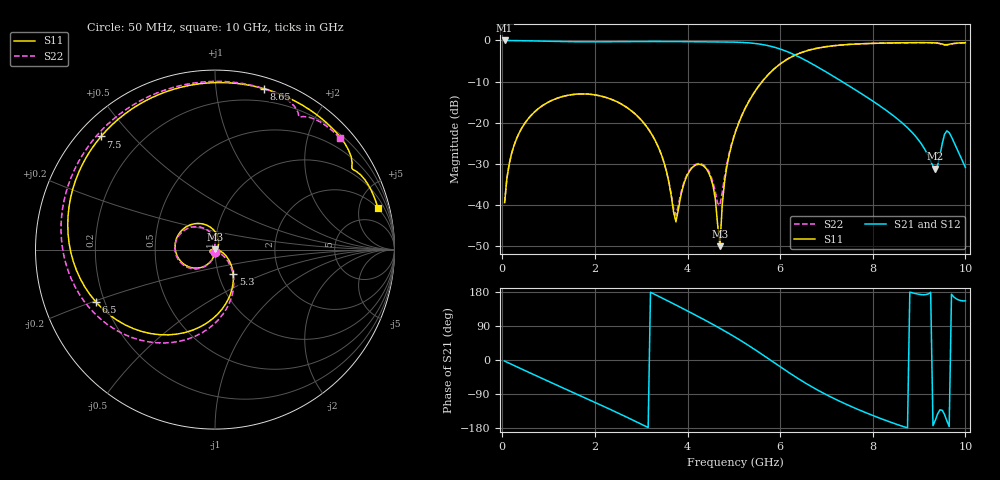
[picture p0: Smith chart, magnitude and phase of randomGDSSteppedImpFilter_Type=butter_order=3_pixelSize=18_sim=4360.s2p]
! freq	dB(S11)	phase(S11)	dB(S12)	phase(S12)
!  dB(S21)	phase(S21)	dB(S22)	phase(S22)
!S-par simulation data
#  GHz  S  DB  R 50
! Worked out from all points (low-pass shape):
!   200 points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, 50 MHz to 10 GHz, reference 50 ohm
!   highest |S21| = -0.01 dB at 50 MHz (marker M1); lowest = -31.2 dB at 9.35 GHz (marker M2)
!   |S21| within 3 dB of the highest: start of sweep to 6.212 GHz
!   lowest |S11| = -50.0 dB at 4.7 GHz (marker M3), VSWR 1.01, Z = 50.2 + j0.275 ohm
!   |S11| at or under -10 dB: start of sweep to 5.613 GHz
!   |S22| runs from -42.5 to -0.6 dB; largest |S21 - S12| = 0
!   S11 on the Smith chart (normalised r, x): 50 MHz: 1.00, -0.02; 5.3 GHz: 1.18, -0.33; 6.5 GHz: 0.17, -0.20; 7.5 GHz: 0.06, +0.41; 8.65 GHz: 0.09, +1.35; 10 GHz: 1.96, +7.44
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0.05  -39.43 -92.3  -0.01 -2.9  -0.01 -2.9  -39.43 -92.2
0.2  -27.54 -101.6  -0.03 -11.5  -0.03 -11.5  -27.54 -101.1
0.5  -19.92 -119.6  -0.08 -28.5  -0.08 -28.5  -19.92 -118.2
1.75  -13.00 168.8  -0.34 -97.9  -0.34 -97.9  -13.00 174.3
2.7  -16.37 112.5  -0.29 -151.6  -0.29 -151.6  -16.38 123.9
3.4  -26.74 63.6  -0.26 166.6  -0.26 166.6  -26.76 91.5
3.75  -44.12 -47.5  -0.28 145.1  -0.28 145.1  -42.48 160.7
4.05  -31.64 -138.7  -0.30 126.3  -0.30 126.3  -31.42 -148.2
4.45  -32.01 -172.7  -0.34 100.4  -0.34 100.4  -31.66 -157.7
4.7  -50.02 60.4  -0.36 83.6  -0.36 83.6  -40.06 -87.6
4.8  -34.30 -9.5  -0.37 76.7  -0.37 76.7  -33.11 -42.7
5.05  -21.80 -32.8  -0.43 58.7  -0.43 58.7  -21.62 -40.1
5.3  -15.35 -53.5  -0.57 39.7  -0.57 39.7  -15.25 -54.2
5.8  -7.67 -96.7  -1.43 -1.0  -1.43 -1.0  -7.61 -91.0
6.5  -2.80 -156.2  -4.55 -57.4  -4.55 -57.4  -2.75 -144.7
6.7  -2.15 -171.6  -5.76 -71.8  -5.76 -71.8  -2.11 -158.6
7.5  -0.97 135.2  -11.14 -120.9  -11.14 -120.9  -0.95 153.7
8.35  -0.62 88.2  -17.50 -162.6  -17.50 -162.6  -0.63 111.5
8.65  -0.56 73.1  -20.20 -175.2  -20.20 -175.2  -0.58 97.7
9.35  -0.59 39.2  -31.19 -159.2  -31.19 -159.2  -0.63 65.7
9.6  -1.04 30.3  -21.98 -160.8  -21.98 -160.8  -1.15 57.4
10  -0.57 14.3  -30.89 156.0  -30.89 156.0  -0.60 41.9
